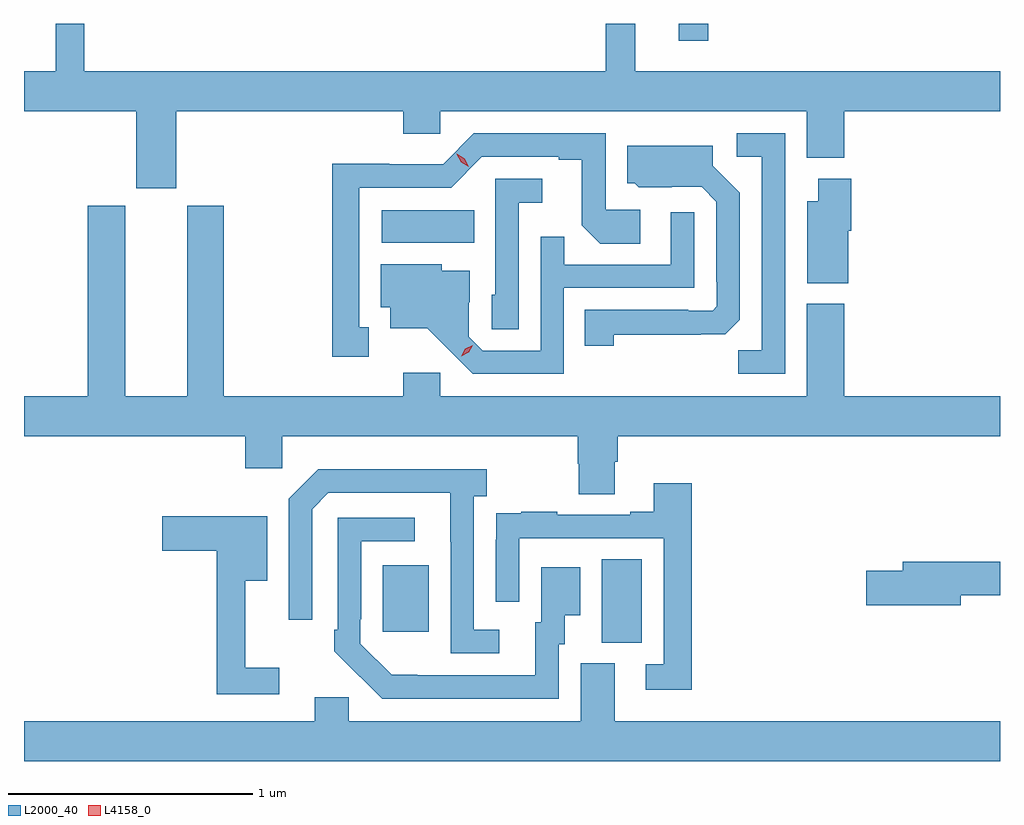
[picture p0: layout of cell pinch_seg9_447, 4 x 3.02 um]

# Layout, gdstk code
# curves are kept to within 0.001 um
import gdstk
lib = gdstk.Library(unit=1e-6, precision=1e-09)
def R(c, l, rs):  # rectangles x0, y0, x1, y1
    for r in rs: c.add(gdstk.rectangle(r[:2], r[2:], *l))
def P(c, l, *ps):  # polygons
    for p in ps: c.add(gdstk.Polygon(p, *l))
L2000_40 = (2000, 40)
L4158_0 = (4158, 0)

pinch_seg9_447 = lib.new_cell('pinch_seg9_447')
R(pinch_seg9_447, L2000_40, [(263.708,1190.245,263.872,1190.588), (262.811,1190.289,262.999,1190.563), (262.806,1191.884,263.186,1192.018), (264.023,1192.713,264.145,1192.781)])
P(pinch_seg9_447, L2000_40, [(261.964,1192.424),(262.895,1192.424),(262.895,1192.331),(263.046,1192.331),(263.046,1192.424),(264.548,1192.424),(264.548,1192.232),(264.701,1192.232),(264.701,1192.424),(265.34,1192.424),(265.34,1192.588),(263.845,1192.588),(263.845,1192.781),(263.724,1192.781),(263.724,1192.588),(261.587,1192.588),(261.587,1192.781),(261.47,1192.781),(261.47,1192.588),(261.34,1192.588),(261.34,1192.424),(261.8,1192.424),(261.8,1192.107),(261.964,1192.107)],
  [(262.753,1191.537),(262.714,1191.537),(262.714,1192.11),(263.091,1192.11),(263.217,1192.236),(263.531,1192.236),(263.531,1192.224),(263.625,1192.224),(263.625,1191.956),(263.701,1191.88),(263.866,1191.88),(263.866,1192.02),(263.724,1192.02),(263.724,1192.332),(263.184,1192.332),(263.058,1192.206),(262.836,1192.206),(262.836,1192.208),(262.603,1192.208),(262.603,1191.417),(262.753,1191.417)],
  [(264.459,1192.332),(264.261,1192.332),(264.261,1192.236),(264.363,1192.236),(264.363,1191.443),(264.268,1191.443),(264.268,1191.348),(264.459,1191.348)],
  [(263.757,1191.508),(264.214,1191.509),(264.273,1191.568),(264.273,1192.09),(264.163,1192.2),(264.163,1192.282),(263.813,1192.282),(263.813,1192.128),(263.844,1192.128),(263.86,1192.112),(264.117,1192.113),(264.177,1192.053),(264.177,1191.724),(264.18,1191.724),(264.18,1191.624),(264.162,1191.606),(264.062,1191.606),(264.062,1191.609),(263.638,1191.609),(263.638,1191.462),(263.757,1191.462)],
  [(264.718,1191.933),(264.731,1191.933),(264.731,1192.147),(264.596,1192.147),(264.596,1192.054),(264.551,1192.054),(264.551,1191.719),(264.718,1191.719)],
  [(263.367,1192.049),(263.464,1192.049),(263.464,1192.146),(263.271,1192.146),(263.271,1191.672),(263.256,1191.672),(263.256,1191.529),(263.367,1191.529)],
  [(263.761,1190.986),(263.774,1190.986),(263.774,1191.092),(265.34,1191.092),(265.34,1191.256),(264.701,1191.256),(264.701,1191.634),(264.548,1191.634),(264.548,1191.256),(263.046,1191.256),(263.046,1191.352),(262.895,1191.352),(262.895,1191.256),(262.158,1191.256),(262.158,1192.035),(262.01,1192.035),(262.01,1191.256),(261.754,1191.256),(261.754,1192.035),(261.602,1192.035),(261.602,1191.256),(261.34,1191.256),(261.34,1191.092),(262.247,1191.092),(262.247,1190.961),(262.398,1190.961),(262.398,1191.092),(263.609,1191.092),(263.609,1190.979),(263.614,1190.979),(263.614,1190.854),(263.761,1190.854)],
  [(263.553,1191.699),(264.087,1191.699),(264.087,1192.009),(263.991,1192.009),(263.991,1191.795),(263.555,1191.795),(263.555,1191.908),(263.457,1191.908),(263.457,1191.441),(263.22,1191.441),(263.163,1191.498),(263.163,1191.64),(263.167,1191.64),(263.167,1191.769),(263.052,1191.769),(263.052,1191.796),(262.802,1191.796),(262.802,1191.62),(262.841,1191.62),(262.841,1191.533),(262.993,1191.533),(263.18,1191.348),(263.553,1191.348)],
  [(263.287,1190.298),(263.184,1190.298),(263.184,1190.846),(263.236,1190.846),(263.236,1190.956),(262.546,1190.956),(262.425,1190.835),(262.425,1190.34),(262.521,1190.34),(262.521,1190.793),(262.587,1190.859),(263.087,1190.859),(263.088,1190.202),(263.287,1190.202)],
  [(264.077,1190.899),(263.921,1190.899),(263.921,1190.782),(263.825,1190.782),(263.825,1190.769),(263.525,1190.769),(263.525,1190.782),(263.377,1190.782),(263.377,1190.775),(263.275,1190.775),(263.275,1190.666),(263.274,1190.666),(263.274,1190.412),(263.37,1190.412),(263.37,1190.673),(263.961,1190.673),(263.961,1190.157),(263.889,1190.157),(263.889,1190.052),(264.077,1190.052)],
  [(262.387,1190.143),(262.247,1190.143),(262.247,1190.498),(262.336,1190.498),(262.336,1190.763),(261.906,1190.763),(261.906,1190.621),(262.129,1190.621),(262.129,1190.034),(262.387,1190.034)],
  [(263.532,1190.238),(263.557,1190.238),(263.557,1190.357),(263.62,1190.357),(263.62,1190.554),(263.459,1190.554),(263.459,1190.328),(263.435,1190.328),(263.435,1190.112),(262.848,1190.113),(262.719,1190.241),(262.719,1190.341),(262.722,1190.341),(262.722,1190.661),(262.942,1190.661),(262.942,1190.757),(262.626,1190.757),(262.626,1190.299),(262.611,1190.299),(262.611,1190.211),(262.808,1190.016),(263.532,1190.016)],
  [(265.18,1190.44),(265.34,1190.44),(265.34,1190.576),(264.941,1190.576),(264.941,1190.54),(264.792,1190.54),(264.792,1190.398),(265.18,1190.398)],
  [(265.34,1189.924),(263.761,1189.924),(263.761,1190.16),(263.621,1190.16),(263.621,1189.924),(262.671,1189.924),(262.671,1190.022),(262.532,1190.022),(262.532,1189.924),(261.34,1189.924),(261.34,1189.76),(265.34,1189.76)])
P(pinch_seg9_447, L4158_0, [(263.131,1191.42),(263.131,1191.42),(263.149,1191.449),(263.18,1191.465),(263.18,1191.465),(263.18,1191.464),(263.163,1191.435),(263.132,1191.42)],
  [(263.162,1192.195),(263.131,1192.214),(263.114,1192.247),(263.114,1192.248),(263.114,1192.248),(263.146,1192.228),(263.162,1192.195),(263.162,1192.195)])

lib.write_gds('pinch_seg9_447.gds')
